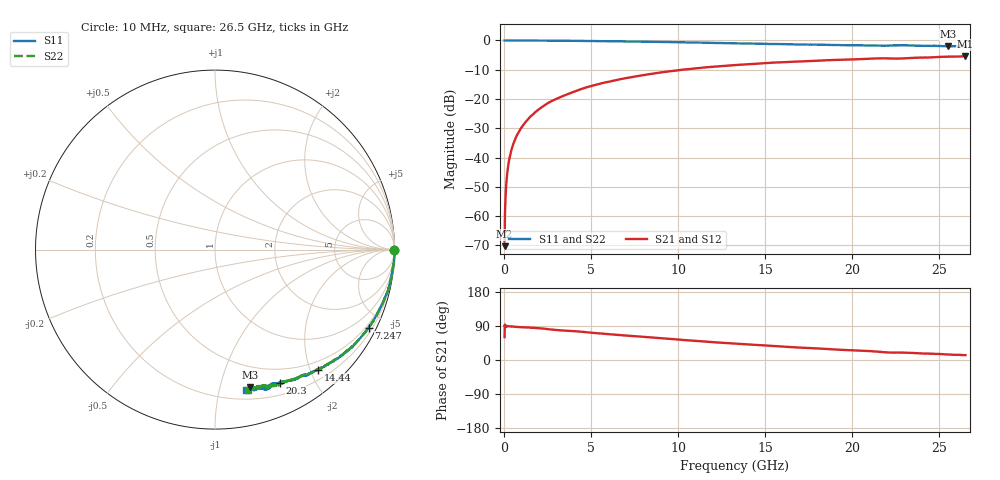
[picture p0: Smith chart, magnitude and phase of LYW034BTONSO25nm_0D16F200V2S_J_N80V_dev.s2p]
!Keysight Technologies,N5222B,MY61253708,A.15.00.15
!Date: Wednesday, June 19, 2024 09:25:38
!Correction: S11(C  2-Port  )
!S21(C  2-Port  )
!S12(C  2-Port  )
!S22(C  2-Port  )
!S2P File: Measurements: S11, S21, S12, S22:
# Hz S  RI  R 50
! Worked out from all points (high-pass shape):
!   2651 points, 10 MHz to 26.5 GHz, reference 50 ohm
!   highest |S21| = -5.38 dB at 26.49 GHz (marker M1); lowest = -70.2 dB at 10 MHz (marker M2)
!   |S21| within 3 dB of the highest: 13.3 GHz to end of sweep
!   lowest |S11| = -2.0 dB at 25.5 GHz (marker M3), VSWR 8.61, Z = 15.1 - j62 ohm
!   |S11| at or under -10 dB: nowhere
!   |S22| runs from -2.0 to 0.0 dB; largest |S21 - S12| = 0.007
!   S11 on the Smith chart (normalised r, x): 10 MHz: open; 7.247 GHz: 0.37, -4.15; 14.44 GHz: 0.35, -2.13; 20.3 GHz: 0.33, -1.55; 26.5 GHz: 0.28, -1.21
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1e7  0.9987 -0.00223  0.000151 0.000268  0.000336 0.00034  0.9986 -0.00149
7.997358e7  0.9999 -0.00578  3.76e-05 0.0027  2.27e-05 0.00272  0.9994 -0.00537
1.599434e8  0.9999 -0.0116  7.44e-05 0.00539  5.43e-05 0.0054  0.9996 -0.0109
1.999283e8  0.9999 -0.0138  8.16e-05 0.00673  9.24e-05 0.00678  0.9996 -0.0132
2.599057e8  0.9996 -0.0181  0.000179 0.00871  0.000117 0.00879  0.9994 -0.0173
3.598679e8  0.9994 -0.0251  0.000292 0.0121  0.000288 0.0122  0.9992 -0.0244
4.898189e8  0.9988 -0.0336  0.000565 0.0164  0.000529 0.0166  0.9989 -0.0326
8.396868e8  0.9978 -0.0567  0.00154 0.028  0.00158 0.0282  0.9979 -0.0565
1.449457e9  0.9902 -0.0987  0.00364 0.0486  0.0037 0.0489  0.9925 -0.0956
2.339121e9  0.981 -0.154  0.0104 0.0792  0.0107 0.0797  0.982 -0.1548
3.208792e9  0.9693 -0.2101  0.0219 0.1054  0.0221 0.1061  0.969 -0.2099
4.428332e9  0.9407 -0.2834  0.0397 0.1433  0.0402 0.1443  0.9419 -0.2815
7.247268e9  0.8565 -0.4341  0.1042 0.2106  0.1057 0.2112  0.8572 -0.4337
8.846664e9  0.7978 -0.5053  0.1484 0.238  0.1501 0.2387  0.7981 -0.5046
1.3255e10  0.62 -0.6436  0.2766 0.2603  0.2793 0.26  0.6218 -0.6428
1.444455e10  0.5752 -0.6695  0.3067 0.2559  0.3093 0.2554  0.5751 -0.6656
1.767333e10  0.4471 -0.7205  0.3822 0.2308  0.386 0.2289  0.4555 -0.7182
2.030234e10  0.3624 -0.7427  0.4319 0.2028  0.4357 0.1995  0.3745 -0.7432
2.209166e10  0.3125 -0.7513  0.4637 0.1677  0.4657 0.1644  0.3045 -0.7571
2.550038e10  0.1941 -0.7677  0.5117 0.1306  0.5134 0.13  0.2128 -0.7701
2.649e10  0.1728 -0.7819  0.5249 0.1199  0.5249 0.1151  0.1862 -0.7788
2.65e10  0.1752 -0.7822  0.525 0.1196  0.5247 0.1154  0.1865 -0.7798
